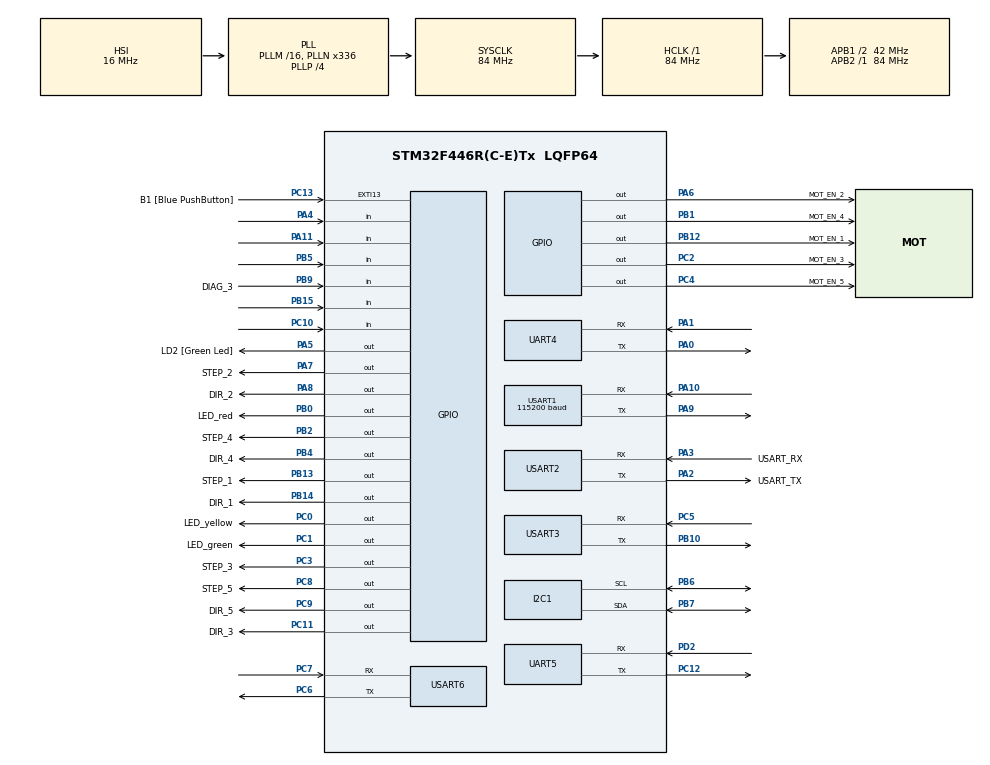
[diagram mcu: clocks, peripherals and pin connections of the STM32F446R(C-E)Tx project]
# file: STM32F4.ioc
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Mcu.Family=STM32F4
Mcu.Name=STM32F446R(C-E)Tx
Mcu.Package=LQFP64
NVIC.EXTI15_10_IRQn=true\:0\:0\:false\:false\:true\:true\:true\:true
NVIC.PriorityGroup=NVIC_PRIORITYGROUP_0
NVIC.TIM1_BRK_TIM9_IRQn=true\:0\:0\:false\:false\:true\:true\:true\:true
NVIC.TIM1_UP_TIM10_IRQn=true\:0\:0\:false\:false\:true\:true\:true\:true
NVIC.TIM3_IRQn=true\:0\:0\:false\:false\:true\:true\:true\:true
NVIC.TIM4_IRQn=true\:0\:0\:false\:false\:true\:true\:true\:true
NVIC.TIM6_DAC_IRQn=true\:0\:0\:false\:false\:true\:true\:true\:true
NVIC.TIM7_IRQn=true\:0\:0\:false\:false\:true\:true\:true\:true
NVIC.TIM8_BRK_TIM12_IRQn=true\:0\:0\:false\:false\:true\:true\:true\:true
NVIC.TIM8_CC_IRQn=true\:0\:0\:false\:false\:true\:true\:true\:true
NVIC.TIM8_UP_TIM13_IRQn=true\:0\:0\:false\:false\:true\:true\:true\:true
NVIC.USART2_IRQn=true\:0\:0\:false\:false\:true\:true\:true\:true
PA0-WKUP.Mode=Asynchronous
PA0-WKUP.Signal=UART4_TX
PA1.Mode=Asynchronous
PA1.Signal=UART4_RX
PA10.Mode=Asynchronous
PA10.Signal=USART1_RX
PA11.Signal=GPIO_Input
PA13.GPIO_Label=TMS
PA13.Mode=Serial_Wire
PA13.Signal=SYS_JTMS-SWDIO
PA14.GPIO_Label=TCK
PA14.Mode=Serial_Wire
PA14.Signal=SYS_JTCK-SWCLK
PA2.GPIO_Label=USART_TX
PA2.GPIO_ModeDefaultOD=GPIO_MODE_AF_OD
PA2.GPIO_PuPd=GPIO_NOPULL
PA2.Mode=Asynchronous
PA2.Signal=USART2_TX
PA3.GPIO_Label=USART_RX
PA3.Mode=Asynchronous
PA3.Signal=USART2_RX
PA4.Signal=GPIO_Input
PA5.GPIO_Label=LD2 [Green Led]
PA5.Signal=GPIO_Output
PA6.GPIO_Label=MOT_EN_2
PA6.Signal=GPIO_Output
PA7.GPIO_Label=STEP_2
PA7.Signal=GPIO_Output
PA8.GPIO_Label=DIR_2
PA8.Signal=GPIO_Output
PA9.GPIO_PuPd=GPIO_NOPULL
PA9.Mode=Asynchronous
PA9.Signal=USART1_TX
PB0.GPIO_Label=LED_red
PB0.Signal=GPIO_Output
PB1.GPIO_Label=MOT_EN_4
PB1.Signal=GPIO_Output
PB10.Mode=Asynchronous
PB10.Signal=USART3_TX
PB12.GPIO_Label=MOT_EN_1
PB12.Signal=GPIO_Output
PB13.GPIO_Label=STEP_1
PB13.Signal=GPIO_Output
PB14.GPIO_Label=DIR_1
PB14.Signal=GPIO_Output
PB15.Signal=GPIO_Input
PB2.GPIO_Label=STEP_4
PB2.Signal=GPIO_Output
PB3.GPIO_Label=SWO
PB3.Signal=SYS_JTDO-SWO
PB4.GPIO_Label=DIR_4
PB4.Signal=GPIO_Output
PB5.Signal=GPIO_Input
PB6.Mode=I2C
PB6.Signal=I2C1_SCL
PB7.Mode=I2C
PB7.Signal=I2C1_SDA
PB9.GPIO_Label=DIAG_3
PB9.Signal=GPIO_Input
PC0.GPIO_Label=LED_yellow
PC0.Signal=GPIO_Output
PC1.GPIO_Label=LED_green
PC1.Signal=GPIO_Output
PC10.Signal=GPIO_Input
PC11.GPIO_Label=DIR_3
PC11.Signal=GPIO_Output
PC12.Mode=Asynchronous
PC12.Signal=UART5_TX
PC13.GPIO_Label=B1 [Blue PushButton]
PC13.GPIO_ModeDefaultEXTI=GPIO_MODE_IT_RISING
PC13.Signal=GPXTI13
PC14-OSC32_IN.Mode=LSE-External-Oscillator
PC14-OSC32_IN.Signal=RCC_OSC32_IN
PC15-OSC32_OUT.Mode=LSE-External-Oscillator
PC15-OSC32_OUT.Signal=RCC_OSC32_OUT
PC2.GPIO_Label=MOT_EN_3
PC2.Signal=GPIO_Output
PC3.GPIO_Label=STEP_3
PC3.Signal=GPIO_Output
PC4.GPIO_Label=MOT_EN_5
PC4.Signal=GPIO_Output
PC5.Mode=Asynchronous
PC5.Signal=USART3_RX
PC6.Mode=Asynchronous
PC6.Signal=USART6_TX
PC7.Mode=Asynchronous
PC7.Signal=USART6_RX
PC8.GPIO_Label=STEP_5
PC8.Signal=GPIO_Output
PC9.GPIO_Label=DIR_5
PC9.Signal=GPIO_Output
PD2.Mode=Asynchronous
PD2.Signal=UART5_RX
PH0-OSC_IN.Mode=HSE-External-Oscillator
PH0-OSC_IN.Signal=RCC_OSC_IN
PH1-OSC_OUT.Mode=HSE-External-Oscillator
PH1-OSC_OUT.Signal=RCC_OSC_OUT
ProjectManager.HeapSize=0x200
ProjectManager.StackSize=0x400
ProjectManager.TargetToolchain=CMake
RCC.48MHZClocksFreq_Value=84000000
RCC.AHBFreq_Value=84000000
RCC.APB1CLKDivider=RCC_HCLK_DIV2
RCC.APB1Freq_Value=42000000
RCC.APB1TimFreq_Value=84000000
RCC.APB2Freq_Value=84000000
RCC.APB2TimFreq_Value=84000000
RCC.CortexFreq_Value=84000000
RCC.FLatency-AdvancedSettings=FLASH_LATENCY_2
RCC.HCLKFreq_Value=84000000
RCC.HSE_VALUE=8000000
RCC.HSI_VALUE=16000000
RCC.PLLN=336
RCC.PLLP=RCC_PLLP_DIV4
RCC.SYSCLKFreq_VALUE=84000000
RCC.SYSCLKSource=RCC_SYSCLKSOURCE_PLLCLK
RCC.USBFreq_Value=168000000
RCC.VCOOutputFreq_Value=336000000
TIM1.Period=999
TIM1.Prescaler=83
TIM10.Period=999
TIM10.Prescaler=839
TIM12.Channel-Output\ Compare1\ No\ Output=TIM_CHANNEL_1
TIM12.Prescaler=41
TIM13.Channel=TIM_CHANNEL_1
TIM13.Prescaler=41
TIM3.Channel-Output\ Compare1\ No\ Output=TIM_CHANNEL_1
TIM3.Prescaler=41
TIM4.Channel-Output\ Compare1\ No\ Output=TIM_CHANNEL_1
TIM4.Prescaler=41
TIM6.Period=999
TIM6.Prescaler=839
TIM7.Period=999
TIM7.Prescaler=839
TIM8.Channel-Output\ Compare1\ No\ Output=TIM_CHANNEL_1
TIM8.Prescaler=41
TIM9.Period=999
TIM9.Prescaler=839
UART4.VirtualMode=Asynchronous
UART5.VirtualMode=Asynchronous
USART1.BaudRate=115200
USART1.VirtualMode=VM_ASYNC
USART2.VirtualMode=VM_ASYNC
USART3.VirtualMode=VM_ASYNC
USART6.VirtualMode=VM_ASYNC
VP_TIM10_VS_ClockSourceINT.Mode=Enable_Timer
VP_TIM12_VS_ClockSourceINT.Mode=Internal
VP_TIM12_VS_no_output1.Mode=Output Compare1 No Output
VP_TIM13_VS_ClockSourceINT.Mode=Enable_Timer
VP_TIM13_VS_no_output1.Mode=Output Compare1 No Output
VP_TIM1_VS_ClockSourceINT.Mode=Internal
VP_TIM3_VS_ClockSourceINT.Mode=Internal
VP_TIM3_VS_no_output1.Mode=Output Compare1 No Output
VP_TIM4_VS_ClockSourceINT.Mode=Internal
VP_TIM4_VS_no_output1.Mode=Output Compare1 No Output
VP_TIM6_VS_ClockSourceINT.Mode=Enable_Timer
VP_TIM7_VS_ClockSourceINT.Mode=Enable_Timer
VP_TIM8_VS_ClockSourceINT.Mode=Internal
VP_TIM8_VS_no_output1.Mode=Output Compare1 No Output
VP_TIM9_VS_ClockSourceINT.Mode=Internal
board=NUCLEO-F446RE

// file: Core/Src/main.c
/* USER CODE BEGIN Header */
/**
  ******************************************************************************
  * @file           : main.c
  * @brief          : Main program body
  ******************************************************************************
  * @attention
  *
  * Copyright (c) 2025 STMicroelectronics.
  * All rights reserved.
  *
  * This software is licensed under terms that can be found in the LICENSE file
  * in the root directory of this software component.
  * If no LICENSE file comes with this software, it is provided AS-IS.
  *
  ******************************************************************************
  */
/* USER CODE END Header */
#include "main.h"

/* USER CODE BEGIN Includes */
#include "motor/motor_init.h"
#include "motor/motor_types.h"
#include "motor/motor_control.h"
#include "motor/status_check.h"
#include "motor/motor_defines.h"
#include "UI.h"
#include "display/helper.h"
/* USER CODE END Includes */

/* USER CODE BEGIN PD */

#define MOTOR_COUNT 5

/* ── Echo-Mode: test the full Pi↔STM32 communication chain without
 *    motor hardware / PCB.  Set to 0 when real motors are connected. ── */
#define ECHO_MODE 0

/* USER CODE END PD */

I2C_HandleTypeDef hi2c1;

TIM_HandleTypeDef htim1;
TIM_HandleTypeDef htim3;
TIM_HandleTypeDef htim4;
TIM_HandleTypeDef htim6;
TIM_HandleTypeDef htim7;
TIM_HandleTypeDef htim8;
TIM_HandleTypeDef htim9;
TIM_HandleTypeDef htim10;
TIM_HandleTypeDef htim12;
TIM_HandleTypeDef htim13;

UART_HandleTypeDef huart4;
UART_HandleTypeDef huart5;
UART_HandleTypeDef huart1;
UART_HandleTypeDef huart2;
UART_HandleTypeDef huart3;
UART_HandleTypeDef huart6;

/* USER CODE BEGIN PV */
motor_t *motors[MOTOR_COUNT];
uint8_t start_flag;

/* Status report timing: send every ~5ms using SysTick */
static uint32_t last_report_tick = 0;
#define REPORT_INTERVAL_MS 5
/* USER CODE END PV */

void SystemClock_Config(void);
static void MX_GPIO_Init(void);
static void MX_USART2_UART_Init(void);
static void MX_USART1_UART_Init(void);
static void MX_I2C1_Init(void);
static void MX_UART4_Init(void);
static void MX_TIM3_Init(void);
static void MX_TIM4_Init(void);
static void MX_TIM9_Init(void);
static void MX_TIM8_Init(void);
static void MX_TIM12_Init(void);
static void MX_TIM13_Init(void);
static void MX_TIM1_Init(void);
static void MX_TIM6_Init(void);
static void MX_TIM7_Init(void);
static void MX_TIM10_Init(void);
static void MX_UART5_Init(void);
static void MX_USART3_UART_Init(void);
static void MX_USART6_UART_Init(void);
/* USER CODE BEGIN PFP */

#define PUTCHAR_PROTOTYPE int __io_putchar(int ch)
/* USER CODE END PFP */

/* USER CODE BEGIN 0 */

#if ECHO_MODE
/* ── Echo helpers: immediately copy target_steps into motor positions ── */
static void echo_apply_stream(void)
{
    for (int i = 0; i < 4; i++)
    {
        motors[i]->motion.position = target_steps[i];
        motors[i]->active_movement_flag = 0;
    }
}

static void echo_apply_reset(void)
{
    for (int i = 0; i < 5; i++)
    {
        motors[i]->motion.position = 0;
        motors[i]->active_movement_flag = 0;
        motors[i]->stallguard.stall_flag = 0;
    }
    homing_done_flag = 1;
    error_flag = 0;
}

static void echo_apply_home(void)
{
    for (int i = 0; i < 4; i++)
    {
        motors[i]->motion.position = home_steps[i];
        motors[i]->active_movement_flag = 0;
    }
}

static void echo_apply_gripper(uint8_t cmd)
{
    if (cmd == CMD_GRIP_OPEN)
    {
        motors[4]->motion.position = GRIPPER_STEPS_OPEN;
        motors[4]->stallguard.stall_flag = 0;
    }
    else if (cmd == CMD_GRIP_CLOSE)
    {
        motors[4]->motion.position = GRIPPER_STEPS_CLOSED;
        motors[4]->stallguard.stall_flag = 1;  // simulate gripped
    }
    motors[4]->active_movement_flag = 0;
}
#endif /* ECHO_MODE */

/* USER CODE END 0 */

int main(void)
{

  /* USER CODE BEGIN 1 */
	motor_t motor1;
	motor_t motor2;
	motor_t motor3;
	motor_t motor4;
	motor_t motor5;
	motors[0] = &motor1;
	motors[1] = &motor2;
	motors[2] = &motor3;
	motors[3] = &motor4;
	motors[4] = &motor5;

	tmc2209_stepper_driver_t driver1;
	tmc2209_stepper_driver_t driver2;
	tmc2209_stepper_driver_t driver3;
	tmc2209_stepper_driver_t driver4;
	tmc2209_stepper_driver_t driver5;

	motors[0]->driver = &driver1;
	motors[1]->driver = &driver2;
	motors[2]->driver = &driver3;
	motors[3]->driver = &driver4;
	motors[4]->driver = &driver5;

  /* USER CODE END 1 */

  /* MCU Configuration--------------------------------------------------------*/

  /* Reset of all peripherals, Initializes the Flash interface and the Systick. */
  HAL_Init();

  /* Configure the system clock */
  SystemClock_Config();

  /* Initialize all configured peripherals */
  MX_GPIO_Init();
  MX_USART2_UART_Init();
  MX_USART1_UART_Init();
  MX_I2C1_Init();
  MX_UART4_Init();
  MX_TIM3_Init();
  MX_TIM4_Init();
  MX_TIM9_Init();
  MX_TIM8_Init();
  MX_TIM12_Init();
  MX_TIM13_Init();
  MX_TIM1_Init();
  MX_TIM6_Init();
  MX_TIM7_Init();
  MX_TIM10_Init();
  MX_UART5_Init();
  MX_USART3_UART_Init();
  MX_USART6_UART_Init();
  /* USER CODE BEGIN 2 */

#if ECHO_MODE
  /* ── Echo-Mode: no motor init, no display, no button wait ─────────── */
  /* Zero out motor structs so fields are in a known state */
  memset(&motor1, 0, sizeof(motor_t));
  memset(&motor2, 0, sizeof(motor_t));
  memset(&motor3, 0, sizeof(motor_t));
  memset(&motor4, 0, sizeof(motor_t));
  memset(&motor5, 0, sizeof(motor_t));

  /* Start listening for serial commands from Pi */
  startSerialReceive();

  /* Signal ready: toggle on-board LED (PA5) */
  HAL_GPIO_TogglePin(GPIOA, GPIO_PIN_5);

#else
  /* ── Normal Mode: full motor initialisation ──────────────────────── */
  initAllMotors(MODE_5_UART);

  writeDisplay("Waiting for Pi...");

  /* Start listening for serial commands from Pi */
  startSerialReceive();

  /* Wait for blue button press as hardware safety interlock */
  // while(start_flag == 0);
  start_flag = 1;

  writeDisplay("Serial ready");
#endif /* ECHO_MODE */

  /* USER CODE END 2 */

  /* Infinite loop */
  /* USER CODE BEGIN WHILE */
  while (1)
  {
#if ECHO_MODE
	  /* ── Echo-Mode: no real motor movement, instant position update ── */

	  if (estop_request)
	  {
		  estop_request = 0;
		  error_flag = 1;
	  }

	  if (reset_request)
	  {
		  reset_request = 0;
		  echo_apply_reset();
	  }

	  if (home_request)
	  {
		  home_request = 0;
		  echo_apply_home();
	  }

	  if (new_target_flag)
	  {
		  new_target_flag = 0;
		  echo_apply_stream();
	  }

	  if (gripper_cmd != 0)
	  {
		  uint8_t cmd = gripper_cmd;
		  gripper_cmd = 0;
		  echo_apply_gripper(cmd);
	  }

	  /* Periodic status report to Pi (~50ms) */
	  uint32_t now = HAL_GetTick();
	  if (now - last_report_tick >= REPORT_INTERVAL_MS)
	  {
		  last_report_tick = now;
		  sendStatusReport();
	  }

#else
	  /* ── Normal Mode: real motor control ─────────────────────────── */

	  /* ── Emergency Stop ──────────────────────────────────────── */
	  if (estop_request)
	  {
		  estop_request = 0;
		  stopAllMotors();
		  writeDisplay("ESTOP!");
		  error_flag = 1;
	  }

	  /* ── Reset / StallGuard Homing ─────────────────────────── */
	  static uint8_t is_homing_active = 0;

	  if (reset_request)
	  {
		  reset_request = 0;
		  homing_done_flag = 0;
		  error_flag = 0;
		  is_homing_active = 1;
		  writeDisplay("Homing...");
		  goHome();
	  }

	  /* If homing is active, we check if all motors have stopped */
	  if (is_homing_active)
	  {
		  uint8_t all_stopped = 1;
		  for (int i = 0; i < 4; i++) {
			  if (motors[i]->active_movement_flag) {
				  all_stopped = 0;
			  }
		  }

		  if (all_stopped) {
			  is_homing_active = 0;
			  homing_done_flag = 1;
			  for (int i = 0; i < 4; i++) {
				  motors[i]->motion.position = 0; // Reset position to 0
                  motors[i]->motion.step = 0;
			  }
			  writeDisplay("Homing done");
		  } else {
			  // Ignore stream commands while homing is in progress
			  new_target_flag = 0;
			  home_request = 0;
		  }
	  }

	  /* If we haven't homed yet, ignore all incoming movement commands */
	  if (!homing_done_flag)
	  {
		  new_target_flag = 0;
		  home_request = 0;
	  }

	  /* ── Home to predefined position ──────────────────────── */
	  if (home_request)
	  {
		  home_request = 0;
		  for (int i = 0; i < 4; i++)
			  moveToStep(home_steps[i], motors[i]);
	  }

	  /* ── Stream: update target positions for 4 arm axes ──── */
	  if (new_target_flag)
	  {
		  new_target_flag = 0;
		  for (int i = 0; i < 4; i++)
			  streamMoveToStep(target_steps[i], motors[i]);
	  }

	  /* ── Gripper commands ──────────────────────────────────── */
	  if (gripper_cmd != 0)
	  {
		  uint8_t cmd = gripper_cmd;
		  gripper_cmd = 0;
		  if (cmd == CMD_GRIP_OPEN)
			  moveGripperToStep(GRIPPER_STEPS_OPEN);
		  else if (cmd == CMD_GRIP_CLOSE)
			  moveGripperToStep(GRIPPER_STEPS_CLOSED);
	  }

	  /* ── StallGuard monitoring for all active motors ──────── */
	  checkAllDrivers();

	  /* ── Periodic status report to Pi (~50ms) ────────────── */
	  uint32_t now = HAL_GetTick();
	  if (now - last_report_tick >= REPORT_INTERVAL_MS)
	  {
		  last_report_tick = now;
		  sendStatusReport();
	  }
#endif /* ECHO_MODE */

    /* USER CODE END WHILE */

  }
}

void SystemClock_Config(void)
{
  RCC_OscInitTypeDef RCC_OscInitStruct = {0};
  RCC_ClkInitTypeDef RCC_ClkInitStruct = {0};

  /** Configure the main internal regulator output voltage
  */
  __HAL_RCC_PWR_CLK_ENABLE();
  __HAL_PWR_VOLTAGESCALING_CONFIG(PWR_REGULATOR_VOLTAGE_SCALE3);

  /** Initializes the RCC Oscillators according to the specified parameters
  * in the RCC_OscInitTypeDef structure.
  */
  RCC_OscInitStruct.OscillatorType = RCC_OSCILLATORTYPE_HSI;
  RCC_OscInitStruct.HSIState = RCC_HSI_ON;
  RCC_OscInitStruct.HSICalibrationValue = RCC_HSICALIBRATION_DEFAULT;
  RCC_OscInitStruct.PLL.PLLState = RCC_PLL_ON;
  RCC_OscInitStruct.PLL.PLLSource = RCC_PLLSOURCE_HSI;
  RCC_OscInitStruct.PLL.PLLM = 16;
  RCC_OscInitStruct.PLL.PLLN = 336;
  RCC_OscInitStruct.PLL.PLLP = RCC_PLLP_DIV4;
  RCC_OscInitStruct.PLL.PLLQ = 2;
  RCC_OscInitStruct.PLL.PLLR = 2;
  if (HAL_RCC_OscConfig(&RCC_OscInitStruct) != HAL_OK)
  {
    Error_Handler();
  }

  /** Initializes the CPU, AHB and APB buses clocks
  */
  RCC_ClkInitStruct.ClockType = RCC_CLOCKTYPE_HCLK|RCC_CLOCKTYPE_SYSCLK
                              |RCC_CLOCKTYPE_PCLK1|RCC_CLOCKTYPE_PCLK2;
  RCC_ClkInitStruct.SYSCLKSource = RCC_SYSCLKSOURCE_PLLCLK;
  RCC_ClkInitStruct.AHBCLKDivider = RCC_SYSCLK_DIV1;
  RCC_ClkInitStruct.APB1CLKDivider = RCC_HCLK_DIV2;
  RCC_ClkInitStruct.APB2CLKDivider = RCC_HCLK_DIV1;

  if (HAL_RCC_ClockConfig(&RCC_ClkInitStruct, FLASH_LATENCY_2) != HAL_OK)
  {
    Error_Handler();
  }
}

static void MX_I2C1_Init(void)
{

  hi2c1.Instance = I2C1;
  hi2c1.Init.ClockSpeed = 100000;
  hi2c1.Init.DutyCycle = I2C_DUTYCYCLE_2;
  hi2c1.Init.OwnAddress1 = 0;
  hi2c1.Init.AddressingMode = I2C_ADDRESSINGMODE_7BIT;
  hi2c1.Init.DualAddressMode = I2C_DUALADDRESS_DISABLE;
  hi2c1.Init.OwnAddress2 = 0;
  hi2c1.Init.GeneralCallMode = I2C_GENERALCALL_DISABLE;
  hi2c1.Init.NoStretchMode = I2C_NOSTRETCH_DISABLE;
  if (HAL_I2C_Init(&hi2c1) != HAL_OK)
  {
    Error_Handler();
  }

}

static void MX_TIM1_Init(void)
{

  TIM_ClockConfigTypeDef sClockSourceConfig = {0};
  TIM_MasterConfigTypeDef sMasterConfig = {0};

  htim1.Instance = TIM1;
  htim1.Init.Prescaler = 83;
  htim1.Init.CounterMode = TIM_COUNTERMODE_UP;
  htim1.Init.Period = 999;
  htim1.Init.ClockDivision = TIM_CLOCKDIVISION_DIV1;
  htim1.Init.RepetitionCounter = 0;
  htim1.Init.AutoReloadPreload = TIM_AUTORELOAD_PRELOAD_DISABLE;
  if (HAL_TIM_Base_Init(&htim1) != HAL_OK)
  {
    Error_Handler();
  }
  sClockSourceConfig.ClockSource = TIM_CLOCKSOURCE_INTERNAL;
  if (HAL_TIM_ConfigClockSource(&htim1, &sClockSourceConfig) != HAL_OK)
  {
    Error_Handler();
  }
  sMasterConfig.MasterOutputTrigger = TIM_TRGO_RESET;
  sMasterConfig.MasterSlaveMode = TIM_MASTERSLAVEMODE_DISABLE;
  if (HAL_TIMEx_MasterConfigSynchronization(&htim1, &sMasterConfig) != HAL_OK)
  {
    Error_Handler();
  }

}

static void MX_TIM3_Init(void)
{

  TIM_ClockConfigTypeDef sClockSourceConfig = {0};
  TIM_MasterConfigTypeDef sMasterConfig = {0};
  TIM_OC_InitTypeDef sConfigOC = {0};

  htim3.Instance = TIM3;
  htim3.Init.Prescaler = 41;
  htim3.Init.CounterMode = TIM_COUNTERMODE_UP;
  htim3.Init.Period = 65535;
  htim3.Init.ClockDivision = TIM_CLOCKDIVISION_DIV1;
  htim3.Init.AutoReloadPreload = TIM_AUTORELOAD_PRELOAD_DISABLE;
  if (HAL_TIM_Base_Init(&htim3) != HAL_OK)
  {
    Error_Handler();
  }
  sClockSourceConfig.ClockSource = TIM_CLOCKSOURCE_INTERNAL;
  if (HAL_TIM_ConfigClockSource(&htim3, &sClockSourceConfig) != HAL_OK)
  {
    Error_Handler();
  }
  if (HAL_TIM_OC_Init(&htim3) != HAL_OK)
  {
    Error_Handler();
  }
  sMasterConfig.MasterOutputTrigger = TIM_TRGO_RESET;
  sMasterConfig.MasterSlaveMode = TIM_MASTERSLAVEMODE_DISABLE;
  if (HAL_TIMEx_MasterConfigSynchronization(&htim3, &sMasterConfig) != HAL_OK)
  {
    Error_Handler();
  }
  sConfigOC.OCMode = TIM_OCMODE_TIMING;
  sConfigOC.Pulse = 0;
  sConfigOC.OCPolarity = TIM_OCPOLARITY_HIGH;
  sConfigOC.OCFastMode = TIM_OCFAST_DISABLE;
  if (HAL_TIM_OC_ConfigChannel(&htim3, &sConfigOC, TIM_CHANNEL_1) != HAL_OK)
  {
    Error_Handler();
  }

}

static void MX_TIM4_Init(void)
{

  TIM_ClockConfigTypeDef sClockSourceConfig = {0};
  TIM_MasterConfigTypeDef sMasterConfig = {0};
  TIM_OC_InitTypeDef sConfigOC = {0};

  htim4.Instance = TIM4;
  htim4.Init.Prescaler = 41;
  htim4.Init.CounterMode = TIM_COUNTERMODE_UP;
  htim4.Init.Period = 65535;
  htim4.Init.ClockDivision = TIM_CLOCKDIVISION_DIV1;
  htim4.Init.AutoReloadPreload = TIM_AUTORELOAD_PRELOAD_DISABLE;
  if (HAL_TIM_Base_Init(&htim4) != HAL_OK)
  {
    Error_Handler();
  }
  sClockSourceConfig.ClockSource = TIM_CLOCKSOURCE_INTERNAL;
  if (HAL_TIM_ConfigClockSource(&htim4, &sClockSourceConfig) != HAL_OK)
  {
    Error_Handler();
  }
  if (HAL_TIM_OC_Init(&htim4) != HAL_OK)
  {
    Error_Handler();
  }
  sMasterConfig.MasterOutputTrigger = TIM_TRGO_RESET;
  sMasterConfig.MasterSlaveMode = TIM_MASTERSLAVEMODE_DISABLE;
  if (HAL_TIMEx_MasterConfigSynchronization(&htim4, &sMasterConfig) != HAL_OK)
  {
    Error_Handler();
  }
  sConfigOC.OCMode = TIM_OCMODE_TIMING;
  sConfigOC.Pulse = 0;
  sConfigOC.OCPolarity = TIM_OCPOLARITY_HIGH;
  sConfigOC.OCFastMode = TIM_OCFAST_DISABLE;
  if (HAL_TIM_OC_ConfigChannel(&htim4, &sConfigOC, TIM_CHANNEL_1) != HAL_OK)
  {
    Error_Handler();
  }

}

static void MX_TIM6_Init(void)
{

  TIM_MasterConfigTypeDef sMasterConfig = {0};

  htim6.Instance = TIM6;
  htim6.Init.Prescaler = 839;
  htim6.Init.CounterMode = TIM_COUNTERMODE_UP;
  htim6.Init.Period = 999;
  htim6.Init.AutoReloadPreload = TIM_AUTORELOAD_PRELOAD_DISABLE;
  if (HAL_TIM_Base_Init(&htim6) != HAL_OK)
  {
    Error_Handler();
  }
  sMasterConfig.MasterOutputTrigger = TIM_TRGO_RESET;
  sMasterConfig.MasterSlaveMode = TIM_MASTERSLAVEMODE_DISABLE;
  if (HAL_TIMEx_MasterConfigSynchronization(&htim6, &sMasterConfig) != HAL_OK)
  {
    Error_Handler();
  }

}

static void MX_TIM7_Init(void)
{

  TIM_MasterConfigTypeDef sMasterConfig = {0};

  htim7.Instance = TIM7;
  htim7.Init.Prescaler = 839;
  htim7.Init.CounterMode = TIM_COUNTERMODE_UP;
  htim7.Init.Period = 999;
  htim7.Init.AutoReloadPreload = TIM_AUTORELOAD_PRELOAD_DISABLE;
  if (HAL_TIM_Base_Init(&htim7) != HAL_OK)
  {
    Error_Handler();
  }
  sMasterConfig.MasterOutputTrigger = TIM_TRGO_RESET;
  sMasterConfig.MasterSlaveMode = TIM_MASTERSLAVEMODE_DISABLE;
  if (HAL_TIMEx_MasterConfigSynchronization(&htim7, &sMasterConfig) != HAL_OK)
  {
    Error_Handler();
  }

}

static void MX_TIM8_Init(void)
{

  TIM_ClockConfigTypeDef sClockSourceConfig = {0};
  TIM_MasterConfigTypeDef sMasterConfig = {0};
  TIM_OC_InitTypeDef sConfigOC = {0};
  TIM_BreakDeadTimeConfigTypeDef sBreakDeadTimeConfig = {0};

  htim8.Instance = TIM8;
  htim8.Init.Prescaler = 41;
  htim8.Init.CounterMode = TIM_COUNTERMODE_UP;
  htim8.Init.Period = 65535;
  htim8.Init.ClockDivision = TIM_CLOCKDIVISION_DIV1;
  htim8.Init.RepetitionCounter = 0;
  htim8.Init.AutoReloadPreload = TIM_AUTORELOAD_PRELOAD_DISABLE;
  if (HAL_TIM_Base_Init(&htim8) != HAL_OK)
  {
    Error_Handler();
  }
  sClockSourceConfig.ClockSource = TIM_CLOCKSOURCE_INTERNAL;
  if (HAL_TIM_ConfigClockSource(&htim8, &sClockSourceConfig) != HAL_OK)
  {
    Error_Handler();
  }
  if (HAL_TIM_OC_Init(&htim8) != HAL_OK)
  {
    Error_Handler();
  }
  sMasterConfig.MasterOutputTrigger = TIM_TRGO_RESET;
  sMasterConfig.MasterSlaveMode = TIM_MASTERSLAVEMODE_DISABLE;
  if (HAL_TIMEx_MasterConfigSynchronization(&htim8, &sMasterConfig) != HAL_OK)
  {
    Error_Handler();
  }
  sConfigOC.OCMode = TIM_OCMODE_TIMING;
  sConfigOC.Pulse = 0;
  sConfigOC.OCPolarity = TIM_OCPOLARITY_HIGH;
  sConfigOC.OCNPolarity = TIM_OCNPOLARITY_HIGH;
  sConfigOC.OCFastMode = TIM_OCFAST_DISABLE;
  sConfigOC.OCIdleState = TIM_OCIDLESTATE_RESET;
  sConfigOC.OCNIdleState = TIM_OCNIDLESTATE_RESET;
  if (HAL_TIM_OC_ConfigChannel(&htim8, &sConfigOC, TIM_CHANNEL_1) != HAL_OK)
  {
    Error_Handler();
  }
  sBreakDeadTimeConfig.OffStateRunMode = TIM_OSSR_DISABLE;
  sBreakDeadTimeConfig.OffStateIDLEMode = TIM_OSSI_DISABLE;
  sBreakDeadTimeConfig.LockLevel = TIM_LOCKLEVEL_OFF;
  sBreakDeadTimeConfig.DeadTime = 0;
  sBreakDeadTimeConfig.BreakState = TIM_BREAK_DISABLE;
  sBreakDeadTimeConfig.BreakPolarity = TIM_BREAKPOLARITY_HIGH;
  sBreakDeadTimeConfig.AutomaticOutput = TIM_AUTOMATICOUTPUT_DISABLE;
  if (HAL_TIMEx_ConfigBreakDeadTime(&htim8, &sBreakDeadTimeConfig) != HAL_OK)
  {
    Error_Handler();
  }

}

static void MX_TIM9_Init(void)
{

  TIM_ClockConfigTypeDef sClockSourceConfig = {0};

  htim9.Instance = TIM9;
  htim9.Init.Prescaler = 839;
  htim9.Init.CounterMode = TIM_COUNTERMODE_UP;
  htim9.Init.Period = 999;
  htim9.Init.ClockDivision = TIM_CLOCKDIVISION_DIV1;
  htim9.Init.AutoReloadPreload = TIM_AUTORELOAD_PRELOAD_DISABLE;
  if (HAL_TIM_Base_Init(&htim9) != HAL_OK)
  {
    Error_Handler();
  }
  sClockSourceConfig.ClockSource = TIM_CLOCKSOURCE_INTERNAL;
  if (HAL_TIM_ConfigClockSource(&htim9, &sClockSourceConfig) != HAL_OK)
  {
    Error_Handler();
  }

}

static void MX_TIM10_Init(void)
{

  htim10.Instance = TIM10;
  htim10.Init.Prescaler = 839;
  htim10.Init.CounterMode = TIM_COUNTERMODE_UP;
  htim10.Init.Period = 999;
  htim10.Init.ClockDivision = TIM_CLOCKDIVISION_DIV1;
  htim10.Init.AutoReloadPreload = TIM_AUTORELOAD_PRELOAD_DISABLE;
  if (HAL_TIM_Base_Init(&htim10) != HAL_OK)
  {
    Error_Handler();
  }

}

static void MX_TIM12_Init(void)
{

  TIM_ClockConfigTypeDef sClockSourceConfig = {0};
  TIM_OC_InitTypeDef sConfigOC = {0};

  htim12.Instance = TIM12;
  htim12.Init.Prescaler = 41;
  htim12.Init.CounterMode = TIM_COUNTERMODE_UP;
  htim12.Init.Period = 65535;
  htim12.Init.ClockDivision = TIM_CLOCKDIVISION_DIV1;
  htim12.Init.AutoReloadPreload = TIM_AUTORELOAD_PRELOAD_DISABLE;
  if (HAL_TIM_Base_Init(&htim12) != HAL_OK)
  {
    Error_Handler();
  }
  sClockSourceConfig.ClockSource = TIM_CLOCKSOURCE_INTERNAL;
  if (HAL_TIM_ConfigClockSource(&htim12, &sClockSourceConfig) != HAL_OK)
  {
    Error_Handler();
  }
  if (HAL_TIM_OC_Init(&htim12) != HAL_OK)
  {
    Error_Handler();
  }
  sConfigOC.OCMode = TIM_OCMODE_TIMING;
  sConfigOC.Pulse = 0;
  sConfigOC.OCPolarity = TIM_OCPOLARITY_HIGH;
  sConfigOC.OCFastMode = TIM_OCFAST_DISABLE;
  if (HAL_TIM_OC_ConfigChannel(&htim12, &sConfigOC, TIM_CHANNEL_1) != HAL_OK)
  {
    Error_Handler();
  }

}

static void MX_TIM13_Init(void)
{

  TIM_OC_InitTypeDef sConfigOC = {0};

  htim13.Instance = TIM13;
  htim13.Init.Prescaler = 41;
  htim13.Init.CounterMode = TIM_COUNTERMODE_UP;
  htim13.Init.Period = 65535;
  htim13.Init.ClockDivision = TIM_CLOCKDIVISION_DIV1;
  htim13.Init.AutoReloadPreload = TIM_AUTORELOAD_PRELOAD_DISABLE;
  if (HAL_TIM_Base_Init(&htim13) != HAL_OK)
  {
    Error_Handler();
  }
  if (HAL_TIM_OC_Init(&htim13) != HAL_OK)
  {
    Error_Handler();
  }
  sConfigOC.OCMode = TIM_OCMODE_TIMING;
  sConfigOC.Pulse = 0;
  sConfigOC.OCPolarity = TIM_OCPOLARITY_HIGH;
  sConfigOC.OCFastMode = TIM_OCFAST_DISABLE;
  if (HAL_TIM_OC_ConfigChannel(&htim13, &sConfigOC, TIM_CHANNEL_1) != HAL_OK)
  {
    Error_Handler();
  }

}

static void MX_UART4_Init(void)
{

  huart4.Instance = UART4;
  huart4.Init.BaudRate = 115200;
  huart4.Init.WordLength = UART_WORDLENGTH_8B;
  huart4.Init.StopBits = UART_STOPBITS_1;
  huart4.Init.Parity = UART_PARITY_NONE;
  huart4.Init.Mode = UART_MODE_TX_RX;
  huart4.Init.HwFlowCtl = UART_HWCONTROL_NONE;
  huart4.Init.OverSampling = UART_OVERSAMPLING_16;
  if (HAL_UART_Init(&huart4) != HAL_OK)
  {
    Error_Handler();
  }

}

static void MX_UART5_Init(void)
{

  huart5.Instance = UART5;
  huart5.Init.BaudRate = 115200;
  huart5.Init.WordLength = UART_WORDLENGTH_8B;
  huart5.Init.StopBits = UART_STOPBITS_1;
  huart5.Init.Parity = UART_PARITY_NONE;
  huart5.Init.Mode = UART_MODE_TX_RX;
  huart5.Init.HwFlowCtl = UART_HWCONTROL_NONE;
  huart5.Init.OverSampling = UART_OVERSAMPLING_16;
  if (HAL_UART_Init(&huart5) != HAL_OK)
  {
    Error_Handler();
  }

}

static void MX_USART1_UART_Init(void)
{

  huart1.Instance = USART1;
  huart1.Init.BaudRate = 115200;
  huart1.Init.WordLength = UART_WORDLENGTH_8B;
  huart1.Init.StopBits = UART_STOPBITS_1;
  huart1.Init.Parity = UART_PARITY_NONE;
  huart1.Init.Mode = UART_MODE_TX_RX;
  huart1.Init.HwFlowCtl = UART_HWCONTROL_NONE;
  huart1.Init.OverSampling = UART_OVERSAMPLING_16;
  if (HAL_UART_Init(&huart1) != HAL_OK)
  {
    Error_Handler();
  }

}

static void MX_USART2_UART_Init(void)
{

  huart2.Instance = USART2;
  huart2.Init.BaudRate = 115200;
  huart2.Init.WordLength = UART_WORDLENGTH_8B;
  huart2.Init.StopBits = UART_STOPBITS_1;
  huart2.Init.Parity = UART_PARITY_NONE;
  huart2.Init.Mode = UART_MODE_TX_RX;
  huart2.Init.HwFlowCtl = UART_HWCONTROL_NONE;
  huart2.Init.OverSampling = UART_OVERSAMPLING_16;
  if (HAL_UART_Init(&huart2) != HAL_OK)
  {
    Error_Handler();
  }

}

static void MX_USART3_UART_Init(void)
{

  huart3.Instance = USART3;
  huart3.Init.BaudRate = 115200;
  huart3.Init.WordLength = UART_WORDLENGTH_8B;
  huart3.Init.StopBits = UART_STOPBITS_1;
  huart3.Init.Parity = UART_PARITY_NONE;
  huart3.Init.Mode = UART_MODE_TX_RX;
  huart3.Init.HwFlowCtl = UART_HWCONTROL_NONE;
  huart3.Init.OverSampling = UART_OVERSAMPLING_16;
  if (HAL_UART_Init(&huart3) != HAL_OK)
  {
    Error_Handler();
  }

}

static void MX_USART6_UART_Init(void)
{

  huart6.Instance = USART6;
  huart6.Init.BaudRate = 115200;
  huart6.Init.WordLength = UART_WORDLENGTH_8B;
  huart6.Init.StopBits = UART_STOPBITS_1;
  huart6.Init.Parity = UART_PARITY_NONE;
  huart6.Init.Mode = UART_MODE_TX_RX;
  huart6.Init.HwFlowCtl = UART_HWCONTROL_NONE;
  huart6.Init.OverSampling = UART_OVERSAMPLING_16;
  if (HAL_UART_Init(&huart6) != HAL_OK)
  {
    Error_Handler();
  }

}

static void MX_GPIO_Init(void)
{
  GPIO_InitTypeDef GPIO_InitStruct = {0};

  /* GPIO Ports Clock Enable */
  __HAL_RCC_GPIOC_CLK_ENABLE();
  __HAL_RCC_GPIOH_CLK_ENABLE();
  __HAL_RCC_GPIOA_CLK_ENABLE();
  __HAL_RCC_GPIOB_CLK_ENABLE();
  __HAL_RCC_GPIOD_CLK_ENABLE();

  /*Configure GPIO pin Output Level */
  HAL_GPIO_WritePin(GPIOC, LED_yellow_Pin|LED_green_Pin|MOT_EN_3_Pin|STEP_3_Pin
                          |MOT_EN_5_Pin|STEP_5_Pin|DIR_5_Pin|DIR_3_Pin, GPIO_PIN_RESET);

  /*Configure GPIO pin Output Level */
  HAL_GPIO_WritePin(GPIOA, LD2_Pin|MOT_EN_2_Pin|STEP_2_Pin|DIR_2_Pin, GPIO_PIN_RESET);

  /*Configure GPIO pin Output Level */
  HAL_GPIO_WritePin(GPIOB, LED_red_Pin|MOT_EN_4_Pin|STEP_4_Pin|MOT_EN_1_Pin
                          |STEP_1_Pin|DIR_1_Pin|DIR_4_Pin, GPIO_PIN_RESET);

  /*Configure GPIO pin : B1_Pin */
  GPIO_InitStruct.Pin = B1_Pin;
  GPIO_InitStruct.Mode = GPIO_MODE_IT_RISING;
  GPIO_InitStruct.Pull = GPIO_NOPULL;
  HAL_GPIO_Init(B1_GPIO_Port, &GPIO_InitStruct);

  /*Configure GPIO pins : LED_yellow_Pin LED_green_Pin MOT_EN_3_Pin STEP_3_Pin
                           MOT_EN_5_Pin STEP_5_Pin DIR_5_Pin DIR_3_Pin */
  GPIO_InitStruct.Pin = LED_yellow_Pin|LED_green_Pin|MOT_EN_3_Pin|STEP_3_Pin
                          |MOT_EN_5_Pin|STEP_5_Pin|DIR_5_Pin|DIR_3_Pin;
  GPIO_InitStruct.Mode = GPIO_MODE_OUTPUT_PP;
  GPIO_InitStruct.Pull = GPIO_NOPULL;
  GPIO_InitStruct.Speed = GPIO_SPEED_FREQ_LOW;
  HAL_GPIO_Init(GPIOC, &GPIO_InitStruct);

  /*Configure GPIO pins : PA4 PA11 */
  GPIO_InitStruct.Pin = GPIO_PIN_4|GPIO_PIN_11;
  GPIO_InitStruct.Mode = GPIO_MODE_INPUT;
  GPIO_InitStruct.Pull = GPIO_NOPULL;
  HAL_GPIO_Init(GPIOA, &GPIO_InitStruct);

  /*Configure GPIO pins : LD2_Pin MOT_EN_2_Pin STEP_2_Pin DIR_2_Pin */
  GPIO_InitStruct.Pin = LD2_Pin|MOT_EN_2_Pin|STEP_2_Pin|DIR_2_Pin;
  GPIO_InitStruct.Mode = GPIO_MODE_OUTPUT_PP;
  GPIO_InitStruct.Pull = GPIO_NOPULL;
  GPIO_InitStruct.Speed = GPIO_SPEED_FREQ_LOW;
  HAL_GPIO_Init(GPIOA, &GPIO_InitStruct);

  /*Configure GPIO pins : LED_red_Pin MOT_EN_4_Pin STEP_4_Pin MOT_EN_1_Pin
                           STEP_1_Pin DIR_1_Pin DIR_4_Pin */
  GPIO_InitStruct.Pin = LED_red_Pin|MOT_EN_4_Pin|STEP_4_Pin|MOT_EN_1_Pin
                          |STEP_1_Pin|DIR_1_Pin|DIR_4_Pin;
  GPIO_InitStruct.Mode = GPIO_MODE_OUTPUT_PP;
  GPIO_InitStruct.Pull = GPIO_NOPULL;
  GPIO_InitStruct.Speed = GPIO_SPEED_FREQ_LOW;
  HAL_GPIO_Init(GPIOB, &GPIO_InitStruct);

  /*Configure GPIO pins : PB15 PB5 DIAG_3_Pin */
  GPIO_InitStruct.Pin = GPIO_PIN_15|GPIO_PIN_5|DIAG_3_Pin;
  GPIO_InitStruct.Mode = GPIO_MODE_INPUT;
  GPIO_InitStruct.Pull = GPIO_NOPULL;
  HAL_GPIO_Init(GPIOB, &GPIO_InitStruct);

  /*Configure GPIO pin : PC10 */
  GPIO_InitStruct.Pin = GPIO_PIN_10;
  GPIO_InitStruct.Mode = GPIO_MODE_INPUT;
  GPIO_InitStruct.Pull = GPIO_NOPULL;
  HAL_GPIO_Init(GPIOC, &GPIO_InitStruct);

  /* EXTI interrupt init*/
  HAL_NVIC_SetPriority(EXTI15_10_IRQn, 0, 0);
  HAL_NVIC_EnableIRQ(EXTI15_10_IRQn);

}

/* USER CODE BEGIN 4 */

void HAL_GPIO_EXTI_Callback(uint16_t GPIO_Pin)
{
	if (GPIO_Pin == B1_Pin)  // Check if User Button
	{
		start_flag = 1;
	}
}

/* printf redirected to SWO (ITM port 0) instead of USART2.
 * USART2 is now reserved for the Pi serial protocol.
 * To view: use SWV ITM Data Console in STM32CubeIDE. */
PUTCHAR_PROTOTYPE
{
  ITM_SendChar(ch);
  return ch;
}
/* USER CODE END 4 */

void Error_Handler(void)
{
  __disable_irq();
  while (1)
  {
  }
}
